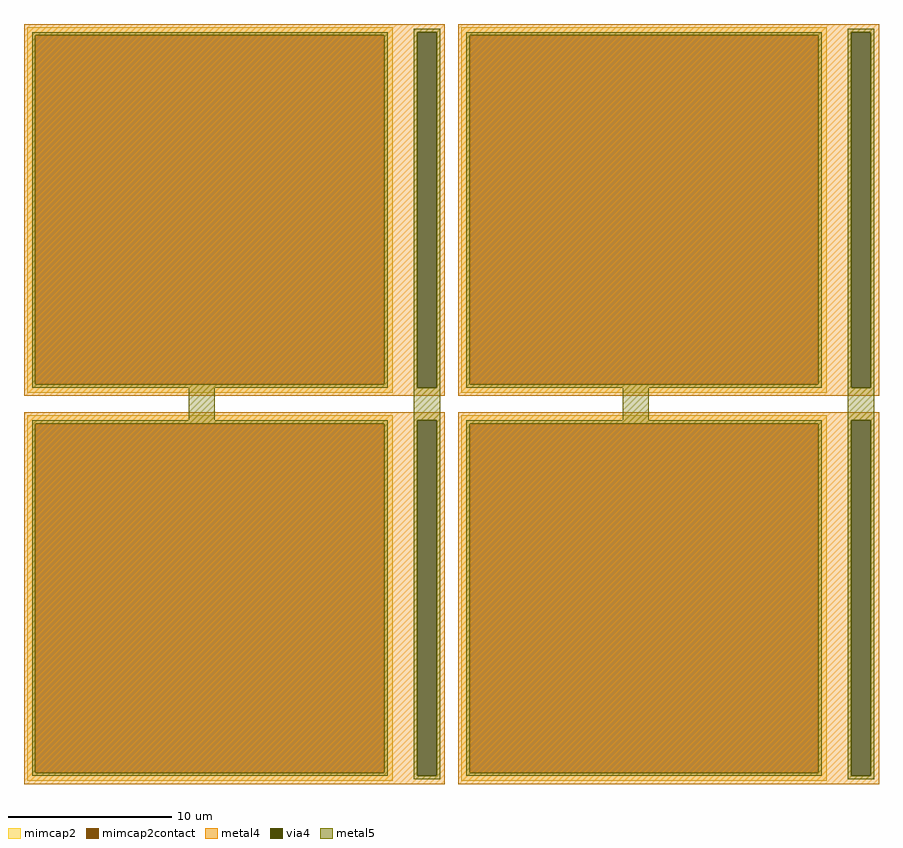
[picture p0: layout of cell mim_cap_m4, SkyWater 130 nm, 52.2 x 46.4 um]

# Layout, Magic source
magic
tech sky130A
<< metal4 >>
rect -2570 2300 0 2350
rect -2570 130 -170 2300
rect -50 130 0 2300
rect -2570 80 0 130
rect 80 2300 2650 2350
rect 80 130 2480 2300
rect 2600 130 2650 2300
rect 80 80 2650 130
rect -2570 -70 0 -20
rect -2570 -2240 -170 -70
rect -50 -2240 0 -70
rect -2570 -2290 0 -2240
rect 80 -70 2650 -20
rect 80 -2240 2480 -70
rect 2600 -2240 2650 -70
rect 80 -2290 2650 -2240
<< via4 >>
rect -170 130 -50 2300
rect 2480 130 2600 2300
rect -170 -2240 -50 -70
rect 2480 -2240 2600 -70
<< mimcap2 >>
rect -2550 2280 -320 2330
rect -2550 150 -2500 2280
rect -370 150 -320 2280
rect -2550 100 -320 150
rect 100 2280 2330 2330
rect 100 150 150 2280
rect 2280 150 2330 2280
rect 100 100 2330 150
rect -2550 -90 -320 -40
rect -2550 -2220 -2500 -90
rect -370 -2220 -320 -90
rect -2550 -2270 -320 -2220
rect 100 -90 2330 -40
rect 100 -2220 150 -90
rect 2280 -2220 2330 -90
rect 100 -2270 2330 -2220
<< mimcap2contact >>
rect -2500 150 -370 2280
rect 150 150 2280 2280
rect -2500 -2220 -370 -90
rect 150 -2220 2280 -90
<< metal5 >>
rect -190 2300 -30 2320
rect 2460 2300 2620 2320
rect -2520 2280 -350 2300
rect -2520 150 -2500 2280
rect -370 150 -350 2280
rect -2520 130 -350 150
rect -190 130 -170 2300
rect -50 130 -30 2300
rect 130 2280 2300 2300
rect 130 150 150 2280
rect 2280 150 2300 2280
rect 130 130 2300 150
rect 2460 130 2480 2300
rect 2600 130 2620 2300
rect -1565 -70 -1405 130
rect -190 -70 -30 130
rect 1085 -70 1245 130
rect 2460 -70 2620 130
rect -2520 -90 -350 -70
rect -2520 -2220 -2500 -90
rect -370 -2220 -350 -90
rect -2520 -2240 -350 -2220
rect -190 -2240 -170 -70
rect -50 -2240 -30 -70
rect 130 -90 2300 -70
rect 130 -2220 150 -90
rect 2280 -2220 2300 -90
rect 130 -2240 2300 -2220
rect 2460 -2240 2480 -70
rect 2600 -2240 2620 -70
rect -190 -2260 -30 -2240
rect 2460 -2260 2620 -2240
<< end >>
